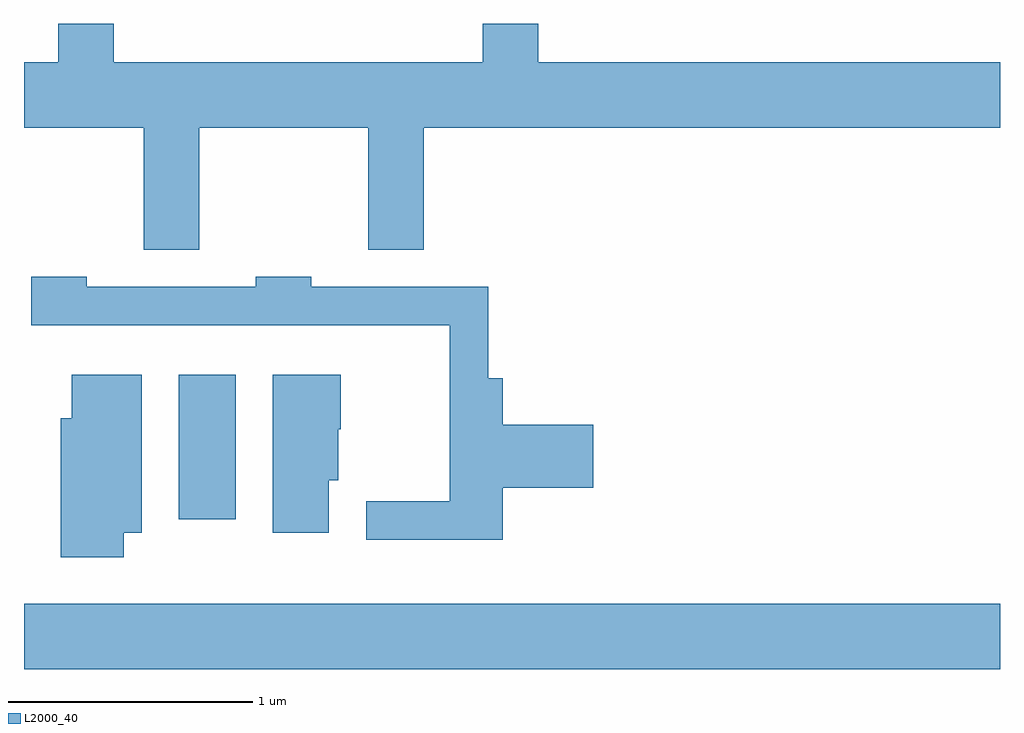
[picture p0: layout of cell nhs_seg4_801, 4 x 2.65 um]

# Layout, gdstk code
import gdstk
lib = gdstk.Library(unit=1e-6, precision=1e-09)
def R(c, l, rs):  # rectangles x0, y0, x1, y1
    for r in rs: c.add(gdstk.rectangle(r[:2], r[2:], *l))
def P(c, l, *ps):  # polygons
    for p in ps: c.add(gdstk.Polygon(p, *l))
L2000_40 = (2000, 40)

nhs_seg4_801 = lib.new_cell('nhs_seg4_801')
R(nhs_seg4_801, L2000_40, [(207.611,1361.336,211.611,1361.604), (208.246,1361.951,208.479,1362.544)])
P(nhs_seg4_801, L2000_40, [(208.329,1363.556),(209.021,1363.556),(209.021,1363.056),(209.249,1363.056),(209.249,1363.556),(211.611,1363.556),(211.611,1363.824),(209.719,1363.824),(209.719,1363.982),(209.491,1363.982),(209.491,1363.824),(207.979,1363.824),(207.979,1363.982),(207.751,1363.982),(207.751,1363.824),(207.611,1363.824),(207.611,1363.556),(208.101,1363.556),(208.101,1363.056),(208.329,1363.056)],
  [(209.574,1362.081),(209.944,1362.081),(209.944,1362.339),(209.574,1362.339),(209.574,1362.529),(209.514,1362.529),(209.514,1362.904),(208.789,1362.904),(208.789,1362.944),(208.561,1362.944),(208.561,1362.904),(207.869,1362.904),(207.869,1362.944),(207.641,1362.944),(207.641,1362.746),(209.356,1362.746),(209.356,1362.024),(209.013,1362.024),(209.013,1361.866),(209.574,1361.866)],
  [(208.019,1361.896),(208.094,1361.896),(208.094,1362.544),(207.806,1362.544),(207.806,1362.364),(207.761,1362.364),(207.761,1361.796),(208.019,1361.796)],
  [(208.859,1362.111),(208.899,1362.111),(208.899,1362.32),(208.909,1362.32),(208.909,1362.544),(208.631,1362.544),(208.631,1361.896),(208.859,1361.896)])

lib.write_gds('nhs_seg4_801.gds')
